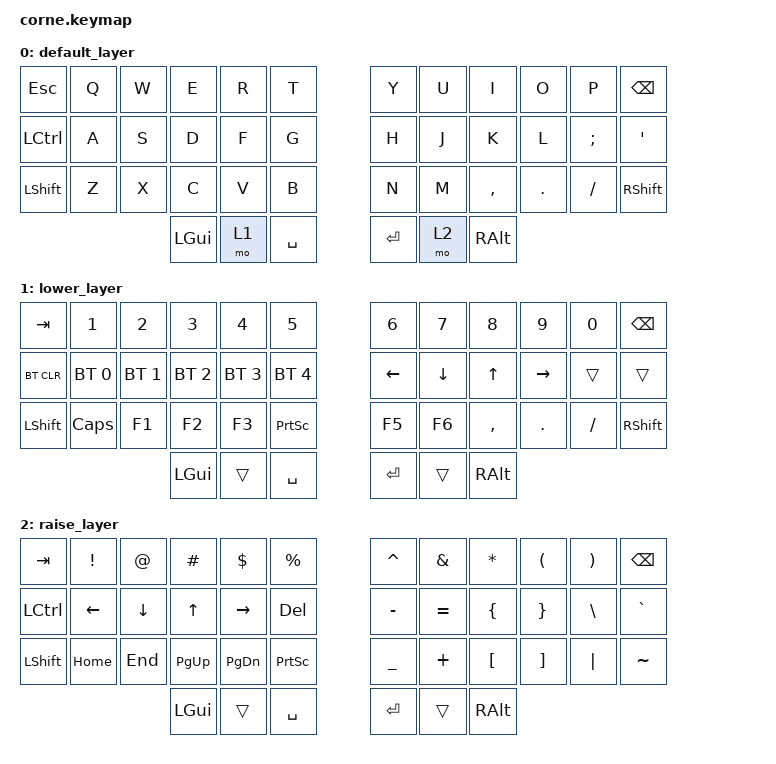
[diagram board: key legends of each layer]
/*
 * Copyright (c) 2020 The ZMK Contributors
 *
 * SPDX-License-Identifier: MIT
 */

#include <behaviors.dtsi>
#include <dt-bindings/zmk/keys.h>
#include <dt-bindings/zmk/bt.h>

/ {
        keymap {

                compatible = "zmk,keymap";

                default_layer {
                        // -----------------------------------------------------------------------------------------
                        // |  ESC |  Q  |  W  |  E  |  R  |  T  |   |  Y  |  U   |  I  |  O  |  P  | BSPC |
                        // | CTRL |  A  |  S  |  D  |  F  |  G  |   |  H  |  J   |  K  |  L  |  ;  |  '   |
                        // | SHFT |  Z  |  X  |  C  |  V  |  B  |   |  N  |  M   |  ,  |  .  |  /  | SHFT |
                        //                    | GUI | LWR | SPC |   | ENT | RSE  | ALT |
                        bindings = <
                                &kp ESC      &kp Q   &kp W   &kp E   &kp R   &kp T                &kp Y   &kp U   &kp I     &kp O    &kp P     &kp BSPC
                                &kp LCTRL    &kp A   &kp S   &kp D   &kp F   &kp G                &kp H   &kp J   &kp K     &kp L    &kp SEMI  &kp SQT
                                &kp LSHFT    &kp Z   &kp X   &kp C   &kp V   &kp B                &kp N   &kp M   &kp COMMA &kp DOT  &kp FSLH  &kp RSHIFT
                                                                &kp LGUI &mo 1 &kp SPACE   &kp RET &mo 2 &kp RALT
                        >;
                };

                lower_layer {
                        // -----------------------------------------------------------------------------------------
                        // |  TAB |  1  |  2  |  3  |  4  |  5  |   |  6  |  7  |  8  |  9  |  0  | BSPC |
                        // | BTCLR| BT1 | BT2 | BT3 | BT4 | BT5 |   | LFT | DWN |  UP | RGT |     |      |
                        // | SHFT | CAPS| F1  | F2  | F3  |PSCRN|   | F5  | F6  |  ,  |  .  |  /  | SHFT |
                        //                    | GUI |     | SPC |   | ENT |     | ALT |
                        bindings = <
                                &kp TAB      &kp N1       &kp N2        &kp N3        &kp N4        &kp N5             &kp N6   &kp N7   &kp N8     &kp N9     &kp N0    &kp BSPC
                                &bt BT_CLR   &bt BT_SEL 0 &bt BT_SEL 1  &bt BT_SEL 2  &bt BT_SEL 3  &bt BT_SEL 4       &kp LEFT &kp DOWN &kp UP     &kp RIGHT  &trans    &trans
                                &kp LSHFT    &kp CAPS     &kp F1        &kp F2        &kp F3        &kp PSCRN          &kp F5   &kp F6   &kp COMMA  &kp DOT    &kp FSLH  &kp RSHIFT
                                                                                &kp LGUI &trans &kp SPACE                  &kp RET  &trans   &kp RALT
                        >;
                };

                raise_layer {
                        // -----------------------------------------------------------------------------------------
                        // |  TAB |  !  |  @  |  #  |  $  |  %  |   |  ^  |  &  |  *  |  (  |  )  | BSPC |
                        // | CTRL | LFT | DWN | UP  | RGT | DEL |   |  -  |  =  |  {  |  }  |  \  |  `   |
                        // | SHFT | HOME| END |PG_UP|PG_DN|PSCRN|   |  _  |  +  |  [  |  ]  | "|" |  ~   |
                        //                    | GUI |     | SPC |   | ENT |     | ALT |
                        bindings = <
                                &kp TAB    &kp EXCL   &kp AT     &kp HASH   &kp DLLR    &kp PRCNT        &kp CARET   &kp AMPS    &kp ASTRK  &kp LPAR   &kp RPAR   &kp BSPC
                                &kp LCTRL  &kp LEFT   &kp DOWN   &kp UP     &kp RIGHT   &kp DEL          &kp MINUS   &kp EQUAL   &kp LBRC   &kp RBRC   &kp BSLH   &kp GRAVE
                                &kp LSHFT  &kp HOME   &kp END    &kp PG_UP  &kp PG_DN   &kp PSCRN        &kp UNDER   &kp PLUS    &kp LBKT   &kp RBKT   &kp PIPE   &kp TILDE
                                                                   &kp LGUI &trans &kp SPACE                    &kp RET   &trans    &kp RALT
                        >;
                };
        };
};
